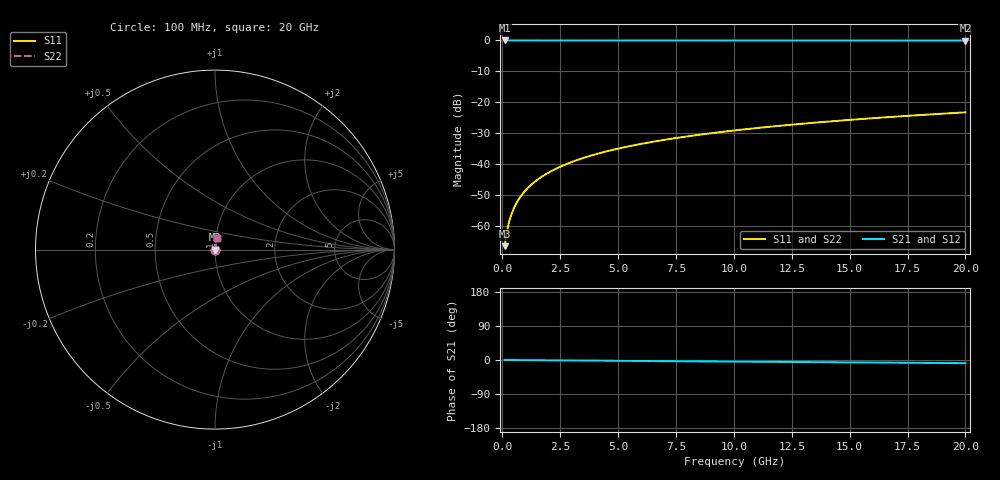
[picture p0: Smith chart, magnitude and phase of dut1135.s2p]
! Touchstone file exported from HFSS 2026.1.0
!  File:  C:/ffzhzh/LocalFiles/Ansys_Project_Files/temp_train_TSV_1135_1783191244_51560.aedt
!  Generated:  02:55:55 AM Jul  5, 2026
!  Design:  TSV
!  Project:  temp_train_TSV_1135_1783191244_51560
! Variables:
!  h_bsmrdl = 2um
!  h_ox = 20um
!  h_rdl = 5um
!  h_sub = 69.22um
!  h_tmrdl = 5um
!  h_tsv = 69.22um
!  h_via = 3um
!  l_bsmrdl = 300um
!  l_sub = 411.8um
!  l_tmrdl = 200um
!  m_sub = 200um
!  pitch = 48.71um
!  r_tsv = 5.9um
!  s_tmrdl = 10um
!  w_bsmrdl = 18um
!  w_sub = 500um
!  w_tmrdl = 12um
!  x_tsv_center1 = 206um
!  x_tsv_center2 = 524um
!  x_tsv_center3 = 736um
!  x_tsv_center4 = 1054um
!  x_tsv_center5 = 1266um
!  x_tsv_center6 = 1584um
# GHz S MA R 50.000000
! Terminal data exported
! Port[1] = TSV1_1_T1
! Port[2] = TSV1_1_T2
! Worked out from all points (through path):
!   200 points, 100 MHz to 20 GHz, reference 50 ohm
!   highest |S21| = 0.00 dB at 100 MHz (marker M1); lowest = 0.0 dB at 20 GHz (marker M2)
!   group delay of S21, straight-line fit = 1.16 ps
!   lowest |S11| = -66.7 dB at 100 MHz (marker M3), VSWR 1.00, Z = 50 + j0.0382 ohm
!   |S11| at or under -10 dB: start of sweep to end of sweep
!   |S22| runs from -66.7 to -23.3 dB; largest |S21 - S12| = 2.1e-15
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0.1  0.0004624 55.5  0.9997 -0.0  0.9997 -0.0  0.0004624 55.5
! Gamma 0 0 0 0
! Port Impedance 50 0 50 0
0.2  0.0008076 70.4  0.9997 -0.1  0.9997 -0.1  0.0008076 70.4
0.3  0.001172 75.9  0.9997 -0.1  0.9997 -0.1  0.001172 75.9
0.4  0.001539 78.6  0.9997 -0.2  0.9997 -0.2  0.001539 78.6
0.5  0.001905 80.2  0.9997 -0.2  0.9997 -0.2  0.001905 80.2
0.6  0.002268 81.2  0.9997 -0.3  0.9997 -0.3  0.002268 81.2
0.7  0.002628 82.0  0.9996 -0.3  0.9996 -0.3  0.002628 82.0
0.8  0.002986 82.5  0.9996 -0.3  0.9996 -0.3  0.002986 82.5
1  0.003697 83.3  0.9996 -0.4  0.9996 -0.4  0.003697 83.3
1.4  0.005107 84.3  0.9995 -0.6  0.9995 -0.6  0.005107 84.3
1.7  0.006161 84.7  0.9995 -0.7  0.9995 -0.7  0.006161 84.7
2  0.007213 85.0  0.9994 -0.9  0.9994 -0.9  0.007213 85.0
2.7  0.009661 85.3  0.9994 -1.2  0.9994 -1.2  0.009661 85.3
3.5  0.01244 85.4  0.9992 -1.5  0.9992 -1.5  0.01244 85.4
4.2  0.01487 85.3  0.9991 -1.8  0.9991 -1.8  0.01487 85.3
5  0.01762 85.2  0.999 -2.1  0.999 -2.1  0.01762 85.2
6.8  0.02379 84.8  0.9988 -2.9  0.9988 -2.9  0.02379 84.8
8.3  0.0289 84.4  0.9985 -3.5  0.9985 -3.5  0.0289 84.4
10.1  0.03501 83.8  0.9982 -4.2  0.9982 -4.2  0.03501 83.8
13.4  0.04617 82.7  0.9976 -5.6  0.9976 -5.6  0.04617 82.7
16.7  0.05727 81.5  0.9969 -7.0  0.9969 -7.0  0.05727 81.5
20  0.06827 80.3  0.996 -8.4  0.996 -8.4  0.06827 80.3
